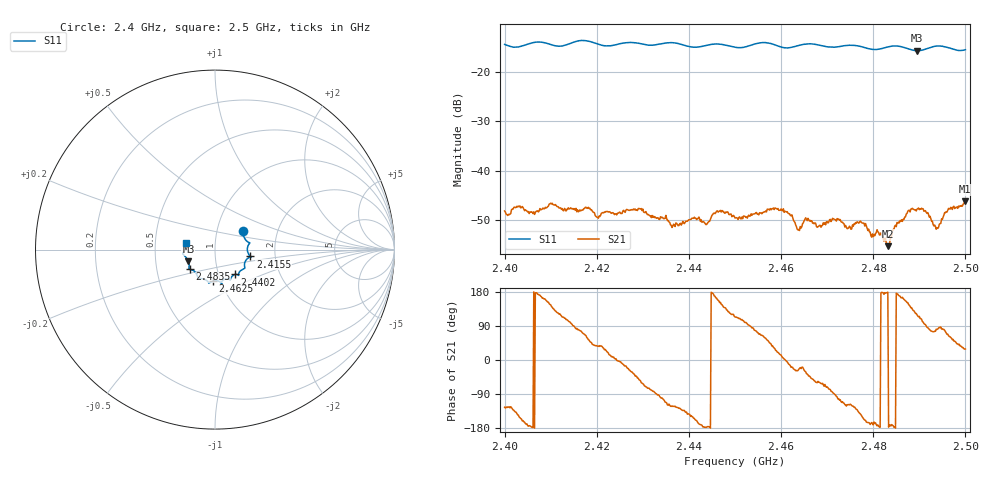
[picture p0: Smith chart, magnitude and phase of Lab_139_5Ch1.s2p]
# Hz S RI R 50
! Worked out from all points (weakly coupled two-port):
!   601 points, 2.4 GHz to 2.5 GHz, reference 50 ohm
!   highest |S21| = -46.10 dB at 2.4998 GHz (marker M1); lowest = -55.2 dB at 2.4832 GHz (marker M2)
!   lowest |S11| = -15.8 dB at 2.4895 GHz (marker M3), VSWR 1.39, Z = 36.8 - j4.97 ohm
!   |S11| at or under -10 dB: start of sweep to end of sweep
!   S12 and S22 are empty: the file has one direction only
!   S11 on the Smith chart (normalised r, x): 2.4 GHz: 1.33, +0.29; 2.4155 GHz: 1.49, -0.12; 2.4402 GHz: 1.20, -0.34; 2.4625 GHz: 0.92, -0.33; 2.4835 GHz: 0.74, -0.17; 2.5 GHz: 0.72, +0.06
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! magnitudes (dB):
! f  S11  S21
! 2.4 GHz  -14.5  -48.1
! 2.4155 GHz  -13.9  -47.5
! 2.4167 GHz  -13.7  -47.9
! 2.4202 GHz  -14.4  -49.3
! 2.4295 GHz  -14.4  -47.7
! 2.4333 GHz  -14.5  -49.5
! 2.4402 GHz  -15.0  -49.9
! 2.45 GHz  -15.1  -49.5
! 2.4588 GHz  -14.7  -47.5
! 2.4625 GHz  -15.1  -49.3
! 2.4638 GHz  -14.7  -51.8
! 2.4667 GHz  -14.4  -50.0
! 2.4775 GHz  -15.0  -50.5
! 2.4832 GHz  -15.0  -55.2
! 2.4833 GHz  -15.0  -54.7
! 2.4835 GHz  -15.0  -55.0
! 2.4852 GHz  -14.9  -50.4
! 2.4895 GHz  -15.8  -47.7
! 2.4937 GHz  -14.9  -51.8
! 2.496 GHz  -15.1  -48.3
! 2.4998 GHz  -15.7  -46.1
! 2.5 GHz  -15.6  -46.1
